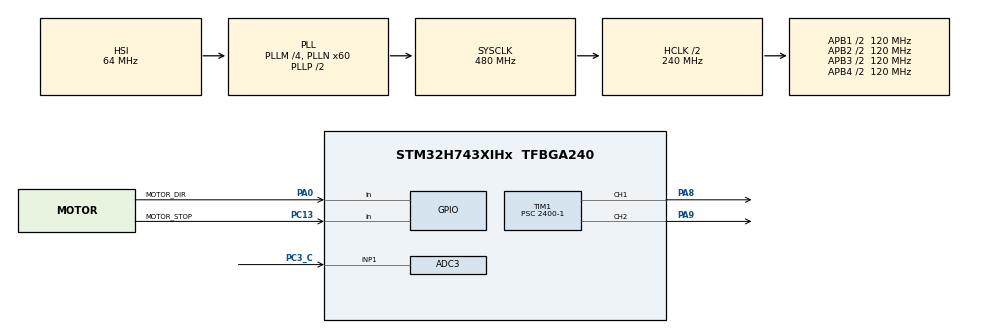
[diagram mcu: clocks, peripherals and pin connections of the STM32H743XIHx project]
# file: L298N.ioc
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ADC3.Channel-0\#ChannelRegularConversion=ADC_CHANNEL_1
ADC3.NbrOfConversionFlag=1
ADC3.OffsetNumber-0\#ChannelRegularConversion=ADC_OFFSET_NONE
ADC3.OffsetSignedSaturation-0\#ChannelRegularConversion=DISABLE
ADC3.Rank-0\#ChannelRegularConversion=1
ADC3.Resolution=ADC_RESOLUTION_12B_OPT
ADC3.SamplingTime-0\#ChannelRegularConversion=ADC_SAMPLETIME_1CYCLE_5
CORTEX_M7.default_mode_Activation=1
Mcu.Family=STM32H7
Mcu.Name=STM32H743XIHx
Mcu.Package=TFBGA240
NVIC.PriorityGroup=NVIC_PRIORITYGROUP_4
PA0.GPIO_Label=MOTOR_DIR
PA0.Signal=GPIO_Input
PA8.Signal=S_TIM1_CH1
PA9.Signal=S_TIM1_CH2
PC13.GPIO_Label=MOTOR_STOP
PC13.Signal=GPIO_Input
PC3_C.Mode=IN1-Single-Ended
PC3_C.Signal=ADC3_INP1
PH0-OSC_IN\ (PH0).Mode=HSE-External-Oscillator
PH0-OSC_IN\ (PH0).Signal=RCC_OSC_IN
PH1-OSC_OUT\ (PH1).Mode=HSE-External-Oscillator
PH1-OSC_OUT\ (PH1).Signal=RCC_OSC_OUT
ProjectManager.HeapSize=0x200
ProjectManager.StackSize=0x400
ProjectManager.TargetToolchain=STM32CubeIDE
RCC.ADCCLockSelection=RCC_ADCCLKSOURCE_CLKP
RCC.ADCFreq_Value=64000000
RCC.APB1Freq_Value=120000000
RCC.APB2Freq_Value=120000000
RCC.APB3Freq_Value=120000000
RCC.APB4Freq_Value=120000000
RCC.CortexFreq_Value=480000000
RCC.D1PPRE=RCC_APB3_DIV2
RCC.D2PPRE1=RCC_APB1_DIV2
RCC.D2PPRE2=RCC_APB2_DIV2
RCC.D3PPRE=RCC_APB4_DIV2
RCC.DIVM1=4
RCC.DIVN1=60
RCC.HCLKFreq_Value=240000000
RCC.HPRE=RCC_HCLK_DIV2
RCC.PLL2FRACN=0
RCC.PLL3FRACN=0
RCC.PLLFRACN=0
RCC.SYSCLKFreq_VALUE=480000000
RCC.SYSCLKSource=RCC_SYSCLKSOURCE_PLLCLK
RCC.USBFreq_Value=480000000
SH.S_TIM1_CH1.0=TIM1_CH1,PWM Generation1 CH1
SH.S_TIM1_CH2.0=TIM1_CH2,PWM Generation2 CH2
TIM1.Channel-PWM\ Generation1\ CH1=TIM_CHANNEL_1
TIM1.Channel-PWM\ Generation2\ CH2=TIM_CHANNEL_2
TIM1.Period=2000-1
TIM1.Prescaler=2400-1
TIM1.Pulse-PWM\ Generation1\ CH1=0
TIM1.Pulse-PWM\ Generation2\ CH2=0
VP_TIM1_VS_ClockSourceINT.Mode=Internal
board=custom

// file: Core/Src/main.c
/* USER CODE BEGIN Header */
/**
  ******************************************************************************
  * @file           : main.c
  * @brief          : Main program body
  ******************************************************************************
  * @attention
  *
  * Copyright (c) 2024 STMicroelectronics.
  * All rights reserved.
  *
  * This software is licensed under terms that can be found in the LICENSE file
  * in the root directory of this software component.
  * If no LICENSE file comes with this software, it is provided AS-IS.
  *
  ******************************************************************************
  */
/* USER CODE END Header */
#include "main.h"

ADC_HandleTypeDef hadc3;

TIM_HandleTypeDef htim1;

void SystemClock_Config(void);
void PeriphCommonClock_Config(void);
static void MPU_Config(void);
static void MX_GPIO_Init(void);
static void MX_TIM1_Init(void);
static void MX_ADC3_Init(void);

int main(void)
{

  /* MPU Configuration--------------------------------------------------------*/
  MPU_Config();

  /* MCU Configuration--------------------------------------------------------*/

  /* Reset of all peripherals, Initializes the Flash interface and the Systick. */
  HAL_Init();

  /* Configure the system clock */
  SystemClock_Config();

/* Configure the peripherals common clocks */
  PeriphCommonClock_Config();

  /* Initialize all configured peripherals */
  MX_GPIO_Init();
  MX_TIM1_Init();
  MX_ADC3_Init();
  /* USER CODE BEGIN 2 */

  int dir = 0;
  int value = 0;
  int speed = 0;

  HAL_ADCEx_Calibration_Start(&hadc3, ADC_CALIB_OFFSET_LINEARITY, ADC_SINGLE_ENDED);

  /* USER CODE END 2 */

  /* Infinite loop */
  /* USER CODE BEGIN WHILE */
  while (1)
  {
	  HAL_ADC_Start(&hadc3);	// Motor speed control
	  HAL_ADC_PollForConversion(&hadc3, HAL_MAX_DELAY);
	  value = HAL_ADC_GetValue(&hadc3);
	  speed = value / 2;	// 乱写的，ADC采集数值不准，目前还没搞懂为啥
	  __HAL_TIM_SET_COMPARE(&htim1, TIM_CHANNEL_1, speed);
	  __HAL_TIM_SET_COMPARE(&htim1, TIM_CHANNEL_2, speed);
	  HAL_ADC_Stop(&hadc3);

	  if(HAL_GPIO_ReadPin(MOTOR_DIR_GPIO_Port, MOTOR_DIR_Pin) == GPIO_PIN_SET)		// Motor direction switch
	  {
		  while(HAL_GPIO_ReadPin(MOTOR_DIR_GPIO_Port, MOTOR_DIR_Pin) == GPIO_PIN_SET);
		  dir++;
		  if (dir == 3)
		  {
			  dir = 1;
		  }
	  }

	  if(HAL_GPIO_ReadPin(MOTOR_STOP_GPIO_Port, MOTOR_STOP_Pin) == GPIO_PIN_SET)	// Motor stop
	  {
		  while(HAL_GPIO_ReadPin(MOTOR_STOP_GPIO_Port, MOTOR_STOP_Pin) == GPIO_PIN_SET);
		  dir = 0;
	  }

	  if (dir == 0)			// Stop
	  {
		  HAL_TIM_PWM_Stop(&htim1, TIM_CHANNEL_1);
		  HAL_Delay(100);
		  HAL_TIM_PWM_Stop(&htim1, TIM_CHANNEL_2);
	  }
	  else if (dir == 1)	// Forward
	  {
		  HAL_TIM_PWM_Start(&htim1, TIM_CHANNEL_1);
		  HAL_Delay(100);
		  HAL_TIM_PWM_Stop(&htim1, TIM_CHANNEL_2);
	  }
	  else if (dir == 2)	// Backward
	  {
		  HAL_TIM_PWM_Start(&htim1, TIM_CHANNEL_2);
		  HAL_TIM_PWM_Stop(&htim1, TIM_CHANNEL_1);
	  }

    /* USER CODE END WHILE */

  }
}

void SystemClock_Config(void)
{
  RCC_OscInitTypeDef RCC_OscInitStruct = {0};
  RCC_ClkInitTypeDef RCC_ClkInitStruct = {0};

  /** Supply configuration update enable
  */
  HAL_PWREx_ConfigSupply(PWR_LDO_SUPPLY);

  /** Configure the main internal regulator output voltage
  */
  __HAL_PWR_VOLTAGESCALING_CONFIG(PWR_REGULATOR_VOLTAGE_SCALE1);

  while(!__HAL_PWR_GET_FLAG(PWR_FLAG_VOSRDY)) {}

  __HAL_RCC_SYSCFG_CLK_ENABLE();
  __HAL_PWR_VOLTAGESCALING_CONFIG(PWR_REGULATOR_VOLTAGE_SCALE0);

  while(!__HAL_PWR_GET_FLAG(PWR_FLAG_VOSRDY)) {}

  /** Initializes the RCC Oscillators according to the specified parameters
  * in the RCC_OscInitTypeDef structure.
  */
  RCC_OscInitStruct.OscillatorType = RCC_OSCILLATORTYPE_HSI;
  RCC_OscInitStruct.HSIState = RCC_HSI_DIV1;
  RCC_OscInitStruct.HSICalibrationValue = RCC_HSICALIBRATION_DEFAULT;
  RCC_OscInitStruct.PLL.PLLState = RCC_PLL_ON;
  RCC_OscInitStruct.PLL.PLLSource = RCC_PLLSOURCE_HSI;
  RCC_OscInitStruct.PLL.PLLM = 4;
  RCC_OscInitStruct.PLL.PLLN = 60;
  RCC_OscInitStruct.PLL.PLLP = 2;
  RCC_OscInitStruct.PLL.PLLQ = 2;
  RCC_OscInitStruct.PLL.PLLR = 2;
  RCC_OscInitStruct.PLL.PLLRGE = RCC_PLL1VCIRANGE_3;
  RCC_OscInitStruct.PLL.PLLVCOSEL = RCC_PLL1VCOWIDE;
  RCC_OscInitStruct.PLL.PLLFRACN = 0;
  if (HAL_RCC_OscConfig(&RCC_OscInitStruct) != HAL_OK)
  {
    Error_Handler();
  }

  /** Initializes the CPU, AHB and APB buses clocks
  */
  RCC_ClkInitStruct.ClockType = RCC_CLOCKTYPE_HCLK|RCC_CLOCKTYPE_SYSCLK
                              |RCC_CLOCKTYPE_PCLK1|RCC_CLOCKTYPE_PCLK2
                              |RCC_CLOCKTYPE_D3PCLK1|RCC_CLOCKTYPE_D1PCLK1;
  RCC_ClkInitStruct.SYSCLKSource = RCC_SYSCLKSOURCE_PLLCLK;
  RCC_ClkInitStruct.SYSCLKDivider = RCC_SYSCLK_DIV1;
  RCC_ClkInitStruct.AHBCLKDivider = RCC_HCLK_DIV2;
  RCC_ClkInitStruct.APB3CLKDivider = RCC_APB3_DIV2;
  RCC_ClkInitStruct.APB1CLKDivider = RCC_APB1_DIV2;
  RCC_ClkInitStruct.APB2CLKDivider = RCC_APB2_DIV2;
  RCC_ClkInitStruct.APB4CLKDivider = RCC_APB4_DIV2;

  if (HAL_RCC_ClockConfig(&RCC_ClkInitStruct, FLASH_LATENCY_4) != HAL_OK)
  {
    Error_Handler();
  }
}

void PeriphCommonClock_Config(void)
{
  RCC_PeriphCLKInitTypeDef PeriphClkInitStruct = {0};

  /** Initializes the peripherals clock
  */
  PeriphClkInitStruct.PeriphClockSelection = RCC_PERIPHCLK_CKPER;
  PeriphClkInitStruct.CkperClockSelection = RCC_CLKPSOURCE_HSI;
  if (HAL_RCCEx_PeriphCLKConfig(&PeriphClkInitStruct) != HAL_OK)
  {
    Error_Handler();
  }
}

static void MX_ADC3_Init(void)
{

  ADC_ChannelConfTypeDef sConfig = {0};

  /** Common config
  */
  hadc3.Instance = ADC3;
  hadc3.Init.Resolution = ADC_RESOLUTION_12B_OPT;
  hadc3.Init.ScanConvMode = ADC_SCAN_DISABLE;
  hadc3.Init.EOCSelection = ADC_EOC_SINGLE_CONV;
  hadc3.Init.LowPowerAutoWait = DISABLE;
  hadc3.Init.ContinuousConvMode = DISABLE;
  hadc3.Init.NbrOfConversion = 1;
  hadc3.Init.DiscontinuousConvMode = DISABLE;
  hadc3.Init.ExternalTrigConv = ADC_SOFTWARE_START;
  hadc3.Init.ExternalTrigConvEdge = ADC_EXTERNALTRIGCONVEDGE_NONE;
  hadc3.Init.ConversionDataManagement = ADC_CONVERSIONDATA_DR;
  hadc3.Init.Overrun = ADC_OVR_DATA_PRESERVED;
  hadc3.Init.LeftBitShift = ADC_LEFTBITSHIFT_NONE;
  hadc3.Init.OversamplingMode = DISABLE;
  if (HAL_ADC_Init(&hadc3) != HAL_OK)
  {
    Error_Handler();
  }

  /** Configure Regular Channel
  */
  sConfig.Channel = ADC_CHANNEL_1;
  sConfig.Rank = ADC_REGULAR_RANK_1;
  sConfig.SamplingTime = ADC_SAMPLETIME_1CYCLE_5;
  sConfig.SingleDiff = ADC_SINGLE_ENDED;
  sConfig.OffsetNumber = ADC_OFFSET_NONE;
  sConfig.Offset = 0;
  sConfig.OffsetSignedSaturation = DISABLE;
  if (HAL_ADC_ConfigChannel(&hadc3, &sConfig) != HAL_OK)
  {
    Error_Handler();
  }

}

static void MX_TIM1_Init(void)
{

  TIM_ClockConfigTypeDef sClockSourceConfig = {0};
  TIM_MasterConfigTypeDef sMasterConfig = {0};
  TIM_OC_InitTypeDef sConfigOC = {0};
  TIM_BreakDeadTimeConfigTypeDef sBreakDeadTimeConfig = {0};

  htim1.Instance = TIM1;
  htim1.Init.Prescaler = 2400-1;
  htim1.Init.CounterMode = TIM_COUNTERMODE_UP;
  htim1.Init.Period = 2000-1;
  htim1.Init.ClockDivision = TIM_CLOCKDIVISION_DIV1;
  htim1.Init.RepetitionCounter = 0;
  htim1.Init.AutoReloadPreload = TIM_AUTORELOAD_PRELOAD_DISABLE;
  if (HAL_TIM_Base_Init(&htim1) != HAL_OK)
  {
    Error_Handler();
  }
  sClockSourceConfig.ClockSource = TIM_CLOCKSOURCE_INTERNAL;
  if (HAL_TIM_ConfigClockSource(&htim1, &sClockSourceConfig) != HAL_OK)
  {
    Error_Handler();
  }
  if (HAL_TIM_PWM_Init(&htim1) != HAL_OK)
  {
    Error_Handler();
  }
  sMasterConfig.MasterOutputTrigger = TIM_TRGO_RESET;
  sMasterConfig.MasterOutputTrigger2 = TIM_TRGO2_RESET;
  sMasterConfig.MasterSlaveMode = TIM_MASTERSLAVEMODE_DISABLE;
  if (HAL_TIMEx_MasterConfigSynchronization(&htim1, &sMasterConfig) != HAL_OK)
  {
    Error_Handler();
  }
  sConfigOC.OCMode = TIM_OCMODE_PWM1;
  sConfigOC.Pulse = 0;
  sConfigOC.OCPolarity = TIM_OCPOLARITY_HIGH;
  sConfigOC.OCNPolarity = TIM_OCNPOLARITY_HIGH;
  sConfigOC.OCFastMode = TIM_OCFAST_DISABLE;
  sConfigOC.OCIdleState = TIM_OCIDLESTATE_RESET;
  sConfigOC.OCNIdleState = TIM_OCNIDLESTATE_RESET;
  if (HAL_TIM_PWM_ConfigChannel(&htim1, &sConfigOC, TIM_CHANNEL_1) != HAL_OK)
  {
    Error_Handler();
  }
  if (HAL_TIM_PWM_ConfigChannel(&htim1, &sConfigOC, TIM_CHANNEL_2) != HAL_OK)
  {
    Error_Handler();
  }
  sBreakDeadTimeConfig.OffStateRunMode = TIM_OSSR_DISABLE;
  sBreakDeadTimeConfig.OffStateIDLEMode = TIM_OSSI_DISABLE;
  sBreakDeadTimeConfig.LockLevel = TIM_LOCKLEVEL_OFF;
  sBreakDeadTimeConfig.DeadTime = 0;
  sBreakDeadTimeConfig.BreakState = TIM_BREAK_DISABLE;
  sBreakDeadTimeConfig.BreakPolarity = TIM_BREAKPOLARITY_HIGH;
  sBreakDeadTimeConfig.BreakFilter = 0;
  sBreakDeadTimeConfig.Break2State = TIM_BREAK2_DISABLE;
  sBreakDeadTimeConfig.Break2Polarity = TIM_BREAK2POLARITY_HIGH;
  sBreakDeadTimeConfig.Break2Filter = 0;
  sBreakDeadTimeConfig.AutomaticOutput = TIM_AUTOMATICOUTPUT_DISABLE;
  if (HAL_TIMEx_ConfigBreakDeadTime(&htim1, &sBreakDeadTimeConfig) != HAL_OK)
  {
    Error_Handler();
  }
  HAL_TIM_MspPostInit(&htim1);

}

static void MX_GPIO_Init(void)
{
  GPIO_InitTypeDef GPIO_InitStruct = {0};

  /* GPIO Ports Clock Enable */
  __HAL_RCC_GPIOA_CLK_ENABLE();
  __HAL_RCC_GPIOC_CLK_ENABLE();
  __HAL_RCC_GPIOH_CLK_ENABLE();

  /*Configure GPIO pin : MOTOR_STOP_Pin */
  GPIO_InitStruct.Pin = MOTOR_STOP_Pin;
  GPIO_InitStruct.Mode = GPIO_MODE_INPUT;
  GPIO_InitStruct.Pull = GPIO_NOPULL;
  HAL_GPIO_Init(MOTOR_STOP_GPIO_Port, &GPIO_InitStruct);

  /*Configure GPIO pin : MOTOR_DIR_Pin */
  GPIO_InitStruct.Pin = MOTOR_DIR_Pin;
  GPIO_InitStruct.Mode = GPIO_MODE_INPUT;
  GPIO_InitStruct.Pull = GPIO_NOPULL;
  HAL_GPIO_Init(MOTOR_DIR_GPIO_Port, &GPIO_InitStruct);

}

 /* MPU Configuration */

void MPU_Config(void)
{
  MPU_Region_InitTypeDef MPU_InitStruct = {0};

  /* Disables the MPU */
  HAL_MPU_Disable();

  /** Initializes and configures the Region and the memory to be protected
  */
  MPU_InitStruct.Enable = MPU_REGION_ENABLE;
  MPU_InitStruct.Number = MPU_REGION_NUMBER0;
  MPU_InitStruct.BaseAddress = 0x0;
  MPU_InitStruct.Size = MPU_REGION_SIZE_4GB;
  MPU_InitStruct.SubRegionDisable = 0x87;
  MPU_InitStruct.TypeExtField = MPU_TEX_LEVEL0;
  MPU_InitStruct.AccessPermission = MPU_REGION_NO_ACCESS;
  MPU_InitStruct.DisableExec = MPU_INSTRUCTION_ACCESS_DISABLE;
  MPU_InitStruct.IsShareable = MPU_ACCESS_SHAREABLE;
  MPU_InitStruct.IsCacheable = MPU_ACCESS_NOT_CACHEABLE;
  MPU_InitStruct.IsBufferable = MPU_ACCESS_NOT_BUFFERABLE;

  HAL_MPU_ConfigRegion(&MPU_InitStruct);
  /* Enables the MPU */
  HAL_MPU_Enable(MPU_PRIVILEGED_DEFAULT);

}

void Error_Handler(void)
{
  __disable_irq();
  while (1)
  {
  }
}
